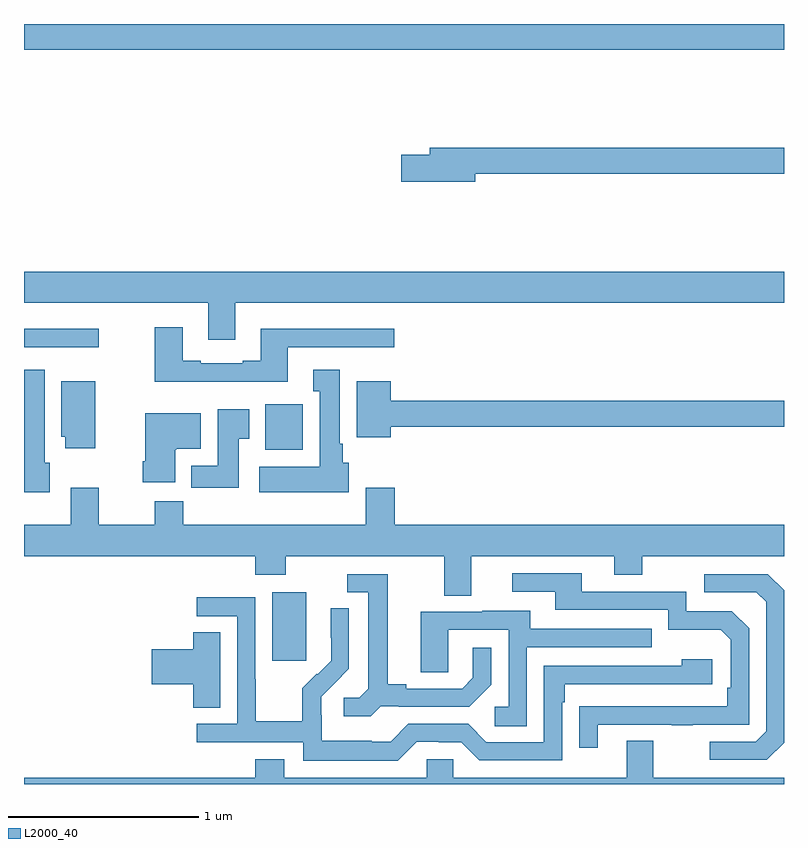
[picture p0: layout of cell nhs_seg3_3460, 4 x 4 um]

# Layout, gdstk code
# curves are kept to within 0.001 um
import gdstk
lib = gdstk.Library(unit=1e-6, precision=1e-09)
def R(c, l, rs):  # rectangles x0, y0, x1, y1
    for r in rs: c.add(gdstk.rectangle(r[:2], r[2:], *l))
def P(c, l, *ps):  # polygons
    for p in ps: c.add(gdstk.Polygon(p, *l))
L2000_40 = (2000, 40)

nhs_seg3_3460 = lib.new_cell('nhs_seg3_3460')
R(nhs_seg3_3460, L2000_40, [(292.307,683.049,292.486,683.41), (292.271,684.158,292.468,684.4), (291,684.699,291.394,684.796), (291,686.264,295,686.4)])
P(nhs_seg3_3460, L2000_40, [(293.374,685.612),(295,685.612),(295,685.748),(293.135,685.748),(293.135,685.712),(292.986,685.712),(292.986,685.57),(293.374,685.57)],
  [(292.111,684.932),(295,684.932),(295,685.096),(291,685.096),(291,684.932),(291.971,684.932),(291.971,684.738),(292.111,684.738)],
  [(292.387,684.699),(292.948,684.699),(292.948,684.796),(292.247,684.796),(292.247,684.628),(292.151,684.628),(292.151,684.615),(291.931,684.615),(291.931,684.628),(291.835,684.628),(291.835,684.805),(291.688,684.805),(291.688,684.518),(292.387,684.518)],
  [(291.136,684.09),(291.109,684.09),(291.109,684.58),(291,684.58),(291,684.467),(291.002,684.467),(291.002,684.07),(291,684.07),(291,683.936),(291.136,683.936)],
  [(292.708,684.09),(292.678,684.09),(292.678,684.19),(292.663,684.19),(292.663,684.58),(292.523,684.58),(292.523,684.467),(292.556,684.467),(292.556,684.07),(292.239,684.07),(292.239,683.936),(292.708,683.936)],
  [(291.376,684.52),(291.197,684.52),(291.197,684.228),(291.218,684.228),(291.218,684.168),(291.376,684.168)],
  [(292.93,684.28),(295,684.28),(295,684.416),(292.93,684.416),(292.93,684.52),(292.751,684.52),(292.751,684.224),(292.93,684.224)],
  [(292.129,684.217),(292.186,684.217),(292.186,684.373),(292.019,684.373),(292.019,684.076),(291.881,684.076),(291.881,683.958),(292.129,683.958)],
  [(291.796,684.158),(291.802,684.158),(291.802,684.164),(291.931,684.164),(291.931,684.352),(291.638,684.352),(291.638,684.1),(291.626,684.1),(291.626,683.988),(291.796,683.988)],
  [(291.245,683.959),(291.245,683.764),(291,683.764),(291,683.6),(292.217,683.6),(292.217,683.501),(292.377,683.501),(292.377,683.6),(293.213,683.6),(293.213,683.392),(293.353,683.392),(293.353,683.6),(294.107,683.6),(294.107,683.501),(294.255,683.501),(294.255,683.6),(295,683.6),(295,683.764),(292.952,683.764),(292.952,683.959),(292.799,683.959),(292.799,683.764),(291.839,683.764),(291.839,683.888),(291.688,683.888),(291.688,683.764),(291.393,683.764),(291.393,683.959)],
  [(294.019,682.713),(294.409,682.713),(294.409,682.708),(294.521,682.708),(294.521,682.713),(294.816,682.713),(294.816,683.22),(294.726,683.31),(294.486,683.31),(294.486,683.412),(293.935,683.412),(293.935,683.508),(293.571,683.508),(293.571,683.412),(293.795,683.412),(293.795,683.316),(294.39,683.316),(294.39,683.213),(294.667,683.213),(294.72,683.16),(294.72,682.906),(294.7,682.906),(294.7,682.809),(293.923,682.808),(293.923,682.59),(294.019,682.59)],
  [(295,682.618),(295,683.42),(294.915,683.505),(294.579,683.505),(294.579,683.409),(294.855,683.409),(294.906,683.358),(294.906,682.677),(294.852,682.623),(294.609,682.623),(294.609,682.527),(294.909,682.527)],
  [(292.878,682.809),(292.972,682.809),(292.972,682.806),(293.344,682.806),(293.46,682.922),(293.46,683.116),(293.363,683.116),(293.363,682.959),(293.306,682.902),(293.011,682.902),(293.011,682.925),(292.915,682.925),(292.915,683.505),(292.701,683.505),(292.701,683.409),(292.811,683.409),(292.811,682.901),(292.764,682.854),(292.683,682.854),(292.683,682.757),(292.826,682.757)],
  [(293.067,682.623),(293.183,682.623),(293.183,682.62),(293.301,682.62),(293.397,682.524),(293.832,682.524),(293.832,682.829),(293.845,682.829),(293.845,682.926),(294.622,682.926),(294.622,683.056),(294.461,683.056),(294.461,683.022),(293.736,683.022),(293.736,682.62),(293.433,682.62),(293.337,682.716),(293.022,682.716),(292.929,682.623),(292.829,682.623),(292.829,682.627),(292.566,682.627),(292.566,682.761),(292.564,682.761),(292.564,682.858),(292.71,683.006),(292.71,683.324),(292.614,683.324),(292.614,683.17),(292.616,683.17),(292.616,683.048),(292.545,682.977),(292.542,682.98),(292.465,682.903),(292.465,682.729),(292.221,682.729),(292.221,682.952),(292.218,682.952),(292.218,683.382),(291.909,683.382),(291.909,683.283),(292.122,683.283),(292.122,682.716),(291.909,682.716),(291.909,682.62),(292.47,682.62),(292.47,682.523),(292.967,682.523)],
  [(293.646,683.121),(294.305,683.121),(294.305,683.217),(293.665,683.217),(293.665,683.311),(293.411,683.311),(293.411,683.307),(293.087,683.307),(293.087,682.987),(293.232,682.987),(293.232,683.211),(293.55,683.211),(293.55,682.806),(293.478,682.806),(293.478,682.705),(293.646,682.705)],
  [(292.033,683.198),(291.89,683.198),(291.89,683.108),(291.672,683.108),(291.672,682.925),(291.89,682.925),(291.89,682.801),(292.033,682.801)],
  [(295,682.432),(294.313,682.432),(294.313,682.627),(294.173,682.627),(294.173,682.432),(293.259,682.432),(293.259,682.53),(293.121,682.53),(293.121,682.432),(292.369,682.432),(292.369,682.531),(292.217,682.531),(292.217,682.432),(291,682.432),(291,682.4),(295,682.4)])

lib.write_gds('nhs_seg3_3460.gds')
